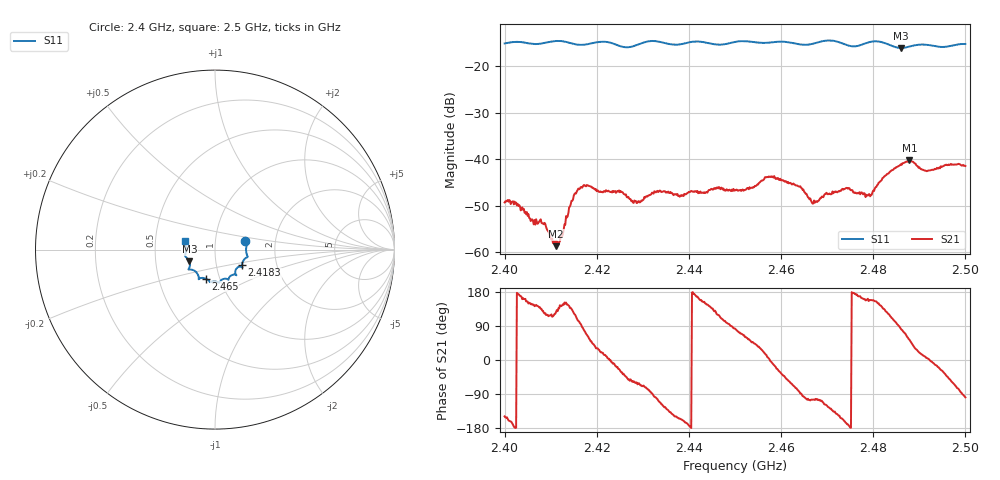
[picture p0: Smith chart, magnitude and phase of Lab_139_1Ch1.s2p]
# Hz S RI R 50
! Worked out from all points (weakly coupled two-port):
!   601 points, 2.4 GHz to 2.5 GHz, reference 50 ohm
!   highest |S21| = -40.25 dB at 2.4878 GHz (marker M1); lowest = -58.7 dB at 2.4112 GHz (marker M2)
!   lowest |S11| = -16.1 dB at 2.486 GHz (marker M3), VSWR 1.37, Z = 37.2 - j4.98 ohm
!   |S11| at or under -10 dB: start of sweep to end of sweep
!   S12 and S22 are empty: the file has one direction only
!   S11 on the Smith chart (normalised r, x): 2.4 GHz: 1.40, +0.14; 2.4183 GHz: 1.33, -0.24; 2.465 GHz: 0.86, -0.28; 2.5 GHz: 0.71, +0.07
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2.4e9  0.1688 0.0471  -0.00293 -0.00178  0 0  0 0
2.408333e9  0.1756 -0.0196  -0.0013 0.00157  0 0  0 0
2.411167e9  0.1822 -0.0388  -0.0007 0.000929  0 0  0 0
2.412167e9  0.1816 -0.041  -0.00116 0.000909  0 0  0 0
2.414833e9  0.1664 -0.0507  -0.00226 0.00289  0 0  0 0
2.416667e9  0.1549 -0.0683  -0.000129 0.005  0 0  0 0
2.418333e9  0.1502 -0.0871  0.00285 0.00429  0 0  0 0
2.425167e9  0.1323 -0.0959  0.00394 -0.00229  0 0  0 0
2.428333e9  0.1132 -0.1219  0.00175 -0.00308  0 0  0 0
2.433333e9  0.1177 -0.141  -0.00128 -0.00425  0 0  0 0
2.438333e9  0.0809 -0.1518  -0.00369 -0.00162  0 0  0 0
2.45e9  0.0263 -0.1802  0.000588 0.00465  0 0  0 0
2.458e9  -0.0172 -0.1791  0.00649 -0.000815  0 0  0 0
2.465e9  -0.0522 -0.1613  -0.000607 -0.00443  0 0  0 0
2.466667e9  -0.0712 -0.1576  -0.000857 -0.00333  0 0  0 0
2.474333e9  -0.0962 -0.1378  -0.00481 -0.000876  0 0  0 0
2.479167e9  -0.1433 -0.111  -0.00391 0.00156  0 0  0 0
2.483333e9  -0.1411 -0.0963  -0.00365 0.006  0 0  0 0
2.486e9  -0.1425 -0.0652  0.0012 0.00875  0 0  0 0
2.487833e9  -0.155 -0.048  0.00573 0.00784  0 0  0 0
2.4915e9  -0.1668 -0.0318  0.00743 0.00073  0 0  0 0
2.5e9  -0.1666 0.0469  -0.00127 -0.00835  0 0  0 0
